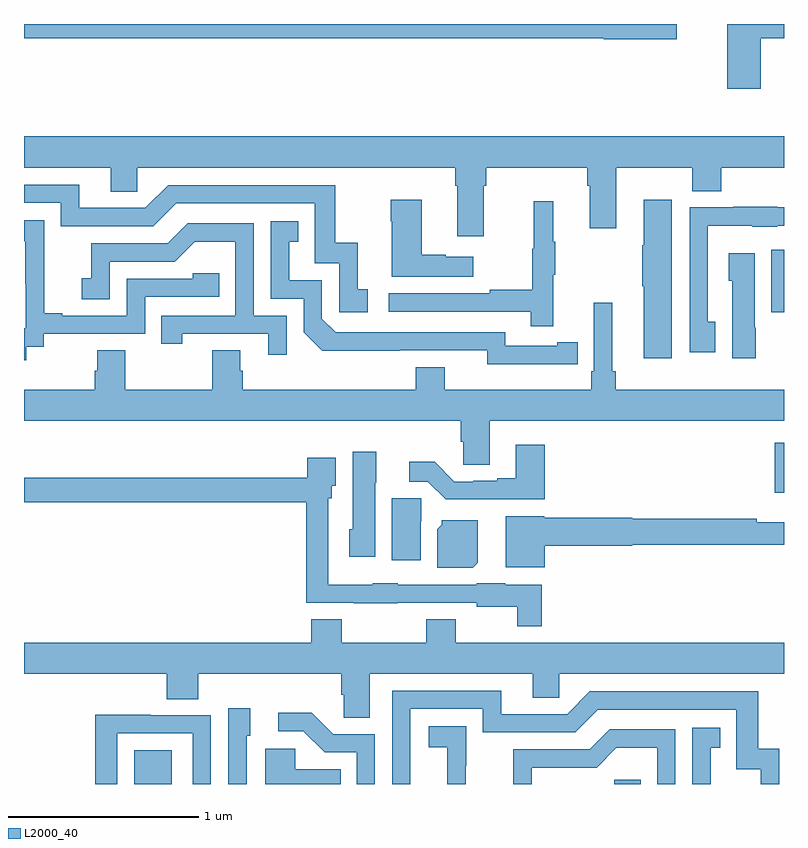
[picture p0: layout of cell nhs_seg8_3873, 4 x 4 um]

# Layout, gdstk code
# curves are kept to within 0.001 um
import gdstk
lib = gdstk.Library(unit=1e-6, precision=1e-09)
def R(c, l, rs):  # rectangles x0, y0, x1, y1
    for r in rs: c.add(gdstk.rectangle(r[:2], r[2:], *l))
def P(c, l, *ps):  # polygons
    for p in ps: c.add(gdstk.Polygon(p, *l))
L2000_40 = (2000, 40)

nhs_seg8_3873 = lib.new_cell('nhs_seg8_3873')
R(nhs_seg8_3873, L2000_40, [(349.58,1135.9,349.777,1136.077), (352.107,1135.9,352.247,1135.923), (352.952,1137.434,353,1137.697), (352.934,1138.383,353,1138.711)])
P(nhs_seg8_3873, L2000_40, [(352.878,1139.824),(353,1139.824),(353,1139.9),(352.7,1139.9),(352.7,1139.559),(352.878,1139.559)],
  [(352.435,1139.9),(349,1139.9),(349,1139.824),(352.05,1139.824),(352.05,1139.819),(352.435,1139.819)],
  [(351.421,1139.048),(351.434,1139.048),(351.434,1139.144),(351.965,1139.144),(351.965,1139.048),(351.977,1139.048),(351.977,1138.824),(352.117,1138.824),(352.117,1139.144),(352.516,1139.144),(352.516,1139.02),(352.671,1139.02),(352.671,1139.144),(353,1139.144),(353,1139.308),(349,1139.308),(349,1139.144),(349.457,1139.144),(349.457,1139.017),(349.596,1139.017),(349.596,1139.144),(351.269,1139.144),(351.269,1139.048),(351.281,1139.048),(351.281,1138.782),(351.421,1138.782)],
  [(350.809,1138.503),(350.756,1138.503),(350.756,1138.75),(350.638,1138.75),(350.638,1139.052),(349.758,1139.052),(349.638,1138.932),(349.291,1138.932),(349.291,1139.055),(349,1139.055),(349,1138.959),(349.194,1138.959),(349.194,1138.836),(349.68,1138.836),(349.8,1138.956),(350.529,1138.956),(350.529,1138.641),(350.658,1138.641),(350.658,1138.383),(350.809,1138.383)],
  [(352.408,1138.975),(352.262,1138.975),(352.262,1138.736),(352.255,1138.736),(352.255,1138.519),(352.262,1138.519),(352.262,1138.14),(352.408,1138.14)],
  [(351.364,1138.675),(351.221,1138.675),(351.221,1138.685),(351.094,1138.685),(351.094,1138.975),(350.929,1138.975),(350.929,1138.862),(350.936,1138.862),(350.936,1138.571),(351.364,1138.571)],
  [(351.785,1138.579),(351.796,1138.579),(351.796,1138.753),(351.785,1138.753),(351.785,1138.966),(351.682,1138.966),(351.682,1138.716),(351.675,1138.716),(351.675,1138.502),(351.451,1138.502),(351.451,1138.482),(350.919,1138.482),(350.919,1138.386),(351.667,1138.386),(351.667,1138.308),(351.785,1138.308)],
  [(352.639,1138.334),(352.599,1138.334),(352.599,1138.838),(352.833,1138.838),(352.833,1138.832),(352.965,1138.832),(352.965,1138.839),(353,1138.839),(353,1138.935),(352.965,1138.935),(352.965,1138.937),(352.733,1138.937),(352.733,1138.935),(352.503,1138.935),(352.503,1138.173),(352.639,1138.173)],
  [(349.012,1138.201),(349.104,1138.201),(349.104,1138.269),(349.638,1138.269),(349.638,1138.464),(350.027,1138.464),(350.027,1138.587),(349.887,1138.587),(349.887,1138.56),(349.542,1138.56),(349.542,1138.365),(349.201,1138.365),(349.201,1138.378),(349.106,1138.378),(349.106,1138.661),(349.107,1138.661),(349.107,1138.867),(349,1138.867),(349,1138.757),(349.007,1138.757),(349.007,1138.529),(349.008,1138.529),(349.008,1138.299),(349,1138.299),(349,1138.131),(349.012,1138.131)],
  [(351.806,1138.11),(351.914,1138.11),(351.914,1138.226),(351.806,1138.226),(351.806,1138.206),(351.534,1138.206),(351.534,1138.278),(350.64,1138.278),(350.568,1138.35),(350.568,1138.551),(350.395,1138.551),(350.395,1138.755),(350.444,1138.755),(350.444,1138.861),(350.298,1138.861),(350.298,1138.455),(350.472,1138.455),(350.472,1138.278),(350.57,1138.181),(351.438,1138.182),(351.438,1138.109)],
  [(350.382,1138.365),(350.208,1138.365),(350.208,1138.851),(349.862,1138.851),(349.757,1138.746),(349.354,1138.746),(349.354,1138.561),(349.305,1138.561),(349.305,1138.452),(349.452,1138.452),(349.452,1138.65),(349.794,1138.65),(349.898,1138.754),(350.112,1138.754),(350.112,1138.365),(349.723,1138.365),(349.723,1138.218),(349.834,1138.218),(349.834,1138.269),(350.285,1138.269),(350.285,1138.158),(350.382,1138.158)],
  [(352.852,1138.302),(352.846,1138.302),(352.846,1138.693),(352.709,1138.693),(352.709,1138.548),(352.727,1138.548),(352.727,1138.14),(352.852,1138.14)],
  [(349.99,1138.184),(349.99,1137.976),(349.533,1137.976),(349.533,1138.184),(349.385,1138.184),(349.385,1138.074),(349.373,1138.074),(349.373,1137.976),(349,1137.976),(349,1137.812),(351.299,1137.812),(351.299,1137.702),(351.312,1137.702),(351.312,1137.58),(351.451,1137.58),(351.451,1137.812),(353,1137.812),(353,1137.976),(352.115,1137.976),(352.115,1138.072),(352.096,1138.072),(352.096,1138.432),(351.999,1138.432),(351.999,1138.072),(351.986,1138.072),(351.986,1137.976),(351.214,1137.976),(351.214,1138.093),(351.062,1138.093),(351.062,1137.976),(350.15,1137.976),(350.15,1138.074),(350.137,1138.074),(350.137,1138.184)],
  [(351.74,1137.685),(351.587,1137.685),(351.587,1137.508),(351.491,1137.508),(351.491,1137.495),(351.364,1137.495),(351.364,1137.492),(351.264,1137.492),(351.162,1137.595),(351.027,1137.595),(351.027,1137.492),(351.126,1137.492),(351.22,1137.398),(351.74,1137.398)],
  [(350.848,1137.486),(350.854,1137.486),(350.854,1137.649),(350.729,1137.649),(350.729,1137.24),(350.711,1137.24),(350.711,1137.096),(350.848,1137.096)],
  [(351.725,1136.95),(351.534,1136.95),(351.534,1136.956),(351.384,1136.956),(351.384,1136.949),(350.967,1136.949),(350.967,1136.956),(350.835,1136.956),(350.835,1136.95),(350.601,1136.95),(350.601,1137.405),(350.62,1137.405),(350.62,1137.471),(350.641,1137.471),(350.641,1137.616),(350.492,1137.616),(350.492,1137.511),(349,1137.511),(349,1137.382),(350.485,1137.382),(350.485,1136.853),(350.735,1136.853),(350.735,1136.852),(350.967,1136.852),(350.967,1136.853),(351.384,1136.853),(351.384,1136.834),(351.597,1136.834),(351.597,1136.729),(351.725,1136.729)],
  [(351.088,1137.282),(351.092,1137.282),(351.092,1137.405),(350.936,1137.405),(350.936,1137.078),(351.088,1137.078)],
  [(351.742,1137.155),(352.2,1137.155),(352.2,1137.16),(353,1137.16),(353,1137.277),(352.856,1137.277),(352.856,1137.296),(352.2,1137.296),(352.2,1137.302),(351.738,1137.302),(351.738,1137.31),(351.536,1137.31),(351.536,1137.041),(351.742,1137.041)],
  [(351.388,1137.064),(351.388,1137.289),(351.198,1137.289),(351.198,1137.264),(351.176,1137.242),(351.176,1137.038),(351.362,1137.038)],
  [(350.821,1136.48),(351.677,1136.48),(351.677,1136.353),(351.816,1136.353),(351.816,1136.48),(353,1136.48),(353,1136.644),(351.273,1136.644),(351.273,1136.768),(351.118,1136.768),(351.118,1136.644),(350.673,1136.644),(350.673,1136.768),(350.513,1136.768),(350.513,1136.644),(349,1136.644),(349,1136.48),(349.751,1136.48),(349.751,1136.347),(349.916,1136.347),(349.916,1136.48),(350.669,1136.48),(350.669,1136.371),(350.682,1136.371),(350.682,1136.248),(350.821,1136.248)],
  [(351.033,1136.295),(351.414,1136.295),(351.414,1136.172),(351.9,1136.172),(352.02,1136.292),(352.749,1136.292),(352.749,1135.977),(352.878,1135.977),(352.878,1135.9),(352.976,1135.9),(352.976,1136.086),(352.865,1136.086),(352.865,1136.388),(351.978,1136.388),(351.858,1136.268),(351.511,1136.268),(351.511,1136.391),(350.937,1136.391),(350.937,1135.9),(351.033,1135.9)],
  [(350.172,1136.154),(350.191,1136.154),(350.191,1136.299),(350.076,1136.299),(350.076,1135.9),(350.172,1135.9)],
  [(350.847,1136.163),(350.628,1136.163),(350.515,1136.276),(350.337,1136.276),(350.337,1136.178),(350.471,1136.178),(350.582,1136.067),(350.751,1136.067),(350.751,1135.9),(350.847,1135.9)],
  [(349.491,1136.166),(349.887,1136.166),(349.887,1135.9),(349.983,1135.9),(349.983,1136.262),(349.667,1136.262),(349.667,1136.264),(349.375,1136.264),(349.375,1135.9),(349.491,1135.9)],
  [(351.326,1135.997),(351.327,1135.997),(351.327,1136.203),(351.129,1136.203),(351.129,1136.093),(351.227,1136.093),(351.227,1135.9),(351.326,1135.9)],
  [(352.615,1136.091),(352.664,1136.091),(352.664,1136.197),(352.518,1136.197),(352.518,1135.9),(352.615,1135.9)],
  [(351.672,1135.986),(352.014,1135.986),(352.118,1136.09),(352.332,1136.09),(352.332,1135.9),(352.428,1135.9),(352.428,1136.187),(352.082,1136.187),(351.977,1136.082),(351.574,1136.082),(351.574,1135.9),(351.672,1135.9)],
  [(350.666,1135.978),(350.427,1135.978),(350.427,1136.086),(350.27,1136.086),(350.27,1135.9),(350.666,1135.9)])

lib.write_gds('nhs_seg8_3873.gds')
